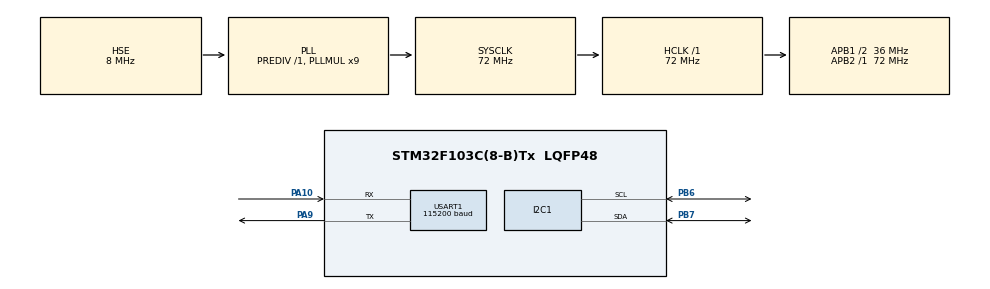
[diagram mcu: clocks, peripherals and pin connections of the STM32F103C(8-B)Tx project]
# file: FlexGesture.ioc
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Mcu.Family=STM32F1
Mcu.Name=STM32F103C(8-B)Tx
Mcu.Package=LQFP48
NVIC.PriorityGroup=NVIC_PRIORITYGROUP_4
PA10.Mode=Asynchronous
PA10.Signal=USART1_RX
PA13.Mode=Serial_Wire
PA13.Signal=SYS_JTMS-SWDIO
PA14.Mode=Serial_Wire
PA14.Signal=SYS_JTCK-SWCLK
PA9.Mode=Asynchronous
PA9.Signal=USART1_TX
PB6.Mode=I2C
PB6.Signal=I2C1_SCL
PB7.Mode=I2C
PB7.Signal=I2C1_SDA
PD0-OSC_IN.Mode=HSE-External-Oscillator
PD0-OSC_IN.Signal=RCC_OSC_IN
PD1-OSC_OUT.Mode=HSE-External-Oscillator
PD1-OSC_OUT.Signal=RCC_OSC_OUT
ProjectManager.HeapSize=0x200
ProjectManager.StackSize=0x400
ProjectManager.TargetToolchain=STM32CubeIDE
RCC.AHBFreq_Value=72000000
RCC.APB1CLKDivider=RCC_HCLK_DIV2
RCC.APB1Freq_Value=36000000
RCC.APB1TimFreq_Value=72000000
RCC.APB2Freq_Value=72000000
RCC.APB2TimFreq_Value=72000000
RCC.HCLKFreq_Value=72000000
RCC.PLLMUL=RCC_PLL_MUL9
RCC.PLLSourceVirtual=RCC_PLLSOURCE_HSE
RCC.SYSCLKFreq_VALUE=72000000
RCC.SYSCLKSource=RCC_SYSCLKSOURCE_PLLCLK
RCC.USBFreq_Value=72000000
USART1.BaudRate=115200
USART1.VirtualMode=VM_ASYNC
board=custom

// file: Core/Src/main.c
/* USER CODE BEGIN Header */
/**
  ******************************************************************************
  * @file           : main.c
  * @brief          : Main program body
  ******************************************************************************
  * @attention
  *
  * Copyright (c) 2026 STMicroelectronics.
  * All rights reserved.
  *
  * This software is licensed under terms that can be found in the LICENSE file
  * in the root directory of this software component.
  * If no LICENSE file comes with this software, it is provided AS-IS.
  *
  ******************************************************************************
  */
/* USER CODE END Header */
#include "main.h"
#include "i2c.h"
#include "usart.h"
#include "gpio.h"

/* USER CODE BEGIN Includes */
#include "mpu6050.h"
#include <stdio.h>
#include <string.h>
/* USER CODE END Includes */

/* USER CODE BEGIN PD */
#define SENSOR_READ_PERIOD_MS  20U
#define UART_PRINT_PERIOD_MS   200U
/* USER CODE END PD */

/* USER CODE BEGIN PV */
static MPU6050_RawData_t mpu_raw;
static uint8_t mpu_ready = 0U;
/* USER CODE END PV */

void SystemClock_Config(void);
/* USER CODE BEGIN PFP */
static void UART_Print(const char *message);
static void UART_PrintRawData(const MPU6050_RawData_t *data);
/* USER CODE END PFP */

/* USER CODE BEGIN 0 */
static void UART_Print(const char *message)
{
  HAL_UART_Transmit(&huart1, (uint8_t *)message, strlen(message), HAL_MAX_DELAY);
}

static void UART_PrintRawData(const MPU6050_RawData_t *data)
{
  char line[128];

  snprintf(line, sizeof(line),
           "ax=%d ay=%d az=%d gx=%d gy=%d gz=%d\r\n",
           data->ax, data->ay, data->az, data->gx, data->gy, data->gz);
  UART_Print(line);
}
/* USER CODE END 0 */

int main(void)
{

  /* MCU Configuration--------------------------------------------------------*/

  /* Reset of all peripherals, Initializes the Flash interface and the Systick. */
  HAL_Init();

  /* Configure the system clock */
  SystemClock_Config();

  /* Initialize all configured peripherals */
  MX_GPIO_Init();
  MX_I2C1_Init();
  MX_USART1_UART_Init();
  /* USER CODE BEGIN 2 */
  UART_Print("\r\nFlexGesture start\r\n");

  if (MPU6050_Init(&hi2c1) == HAL_OK)
  {
    mpu_ready = 1U;
    UART_Print("MPU6050 init OK\r\n");
  }
  else
  {
    UART_Print("ERROR: MPU6050 init failed. Check VCC/GND/PB6/PB7 and I2C address.\r\n");
  }

  uint32_t last_read_tick = HAL_GetTick();
  uint32_t last_print_tick = HAL_GetTick();
  /* USER CODE END 2 */

  /* Infinite loop */
  /* USER CODE BEGIN WHILE */
  while (1)
  {
    uint32_t now = HAL_GetTick();

    if ((now - last_read_tick) >= SENSOR_READ_PERIOD_MS)
    {
      last_read_tick += SENSOR_READ_PERIOD_MS;

      if (mpu_ready != 0U)
      {
        if (MPU6050_ReadRaw(&hi2c1, &mpu_raw) != HAL_OK)
        {
          mpu_ready = 0U;
          UART_Print("ERROR: MPU6050 read failed\r\n");
        }
      }
    }

    if ((now - last_print_tick) >= UART_PRINT_PERIOD_MS)
    {
      last_print_tick += UART_PRINT_PERIOD_MS;

      if (mpu_ready != 0U)
      {
        UART_PrintRawData(&mpu_raw);
      }
    }
    /* USER CODE END WHILE */

  }
}

void SystemClock_Config(void)
{
  RCC_OscInitTypeDef RCC_OscInitStruct = {0};
  RCC_ClkInitTypeDef RCC_ClkInitStruct = {0};

  /** Initializes the RCC Oscillators according to the specified parameters
  * in the RCC_OscInitTypeDef structure.
  */
  RCC_OscInitStruct.OscillatorType = RCC_OSCILLATORTYPE_HSE;
  RCC_OscInitStruct.HSEState = RCC_HSE_ON;
  RCC_OscInitStruct.HSEPredivValue = RCC_HSE_PREDIV_DIV1;
  RCC_OscInitStruct.HSIState = RCC_HSI_ON;
  RCC_OscInitStruct.PLL.PLLState = RCC_PLL_ON;
  RCC_OscInitStruct.PLL.PLLSource = RCC_PLLSOURCE_HSE;
  RCC_OscInitStruct.PLL.PLLMUL = RCC_PLL_MUL9;
  if (HAL_RCC_OscConfig(&RCC_OscInitStruct) != HAL_OK)
  {
    Error_Handler();
  }

  /** Initializes the CPU, AHB and APB buses clocks
  */
  RCC_ClkInitStruct.ClockType = RCC_CLOCKTYPE_HCLK|RCC_CLOCKTYPE_SYSCLK
                              |RCC_CLOCKTYPE_PCLK1|RCC_CLOCKTYPE_PCLK2;
  RCC_ClkInitStruct.SYSCLKSource = RCC_SYSCLKSOURCE_PLLCLK;
  RCC_ClkInitStruct.AHBCLKDivider = RCC_SYSCLK_DIV1;
  RCC_ClkInitStruct.APB1CLKDivider = RCC_HCLK_DIV2;
  RCC_ClkInitStruct.APB2CLKDivider = RCC_HCLK_DIV1;

  if (HAL_RCC_ClockConfig(&RCC_ClkInitStruct, FLASH_LATENCY_2) != HAL_OK)
  {
    Error_Handler();
  }
}

void Error_Handler(void)
{
  __disable_irq();
  while (1)
  {
  }
}
